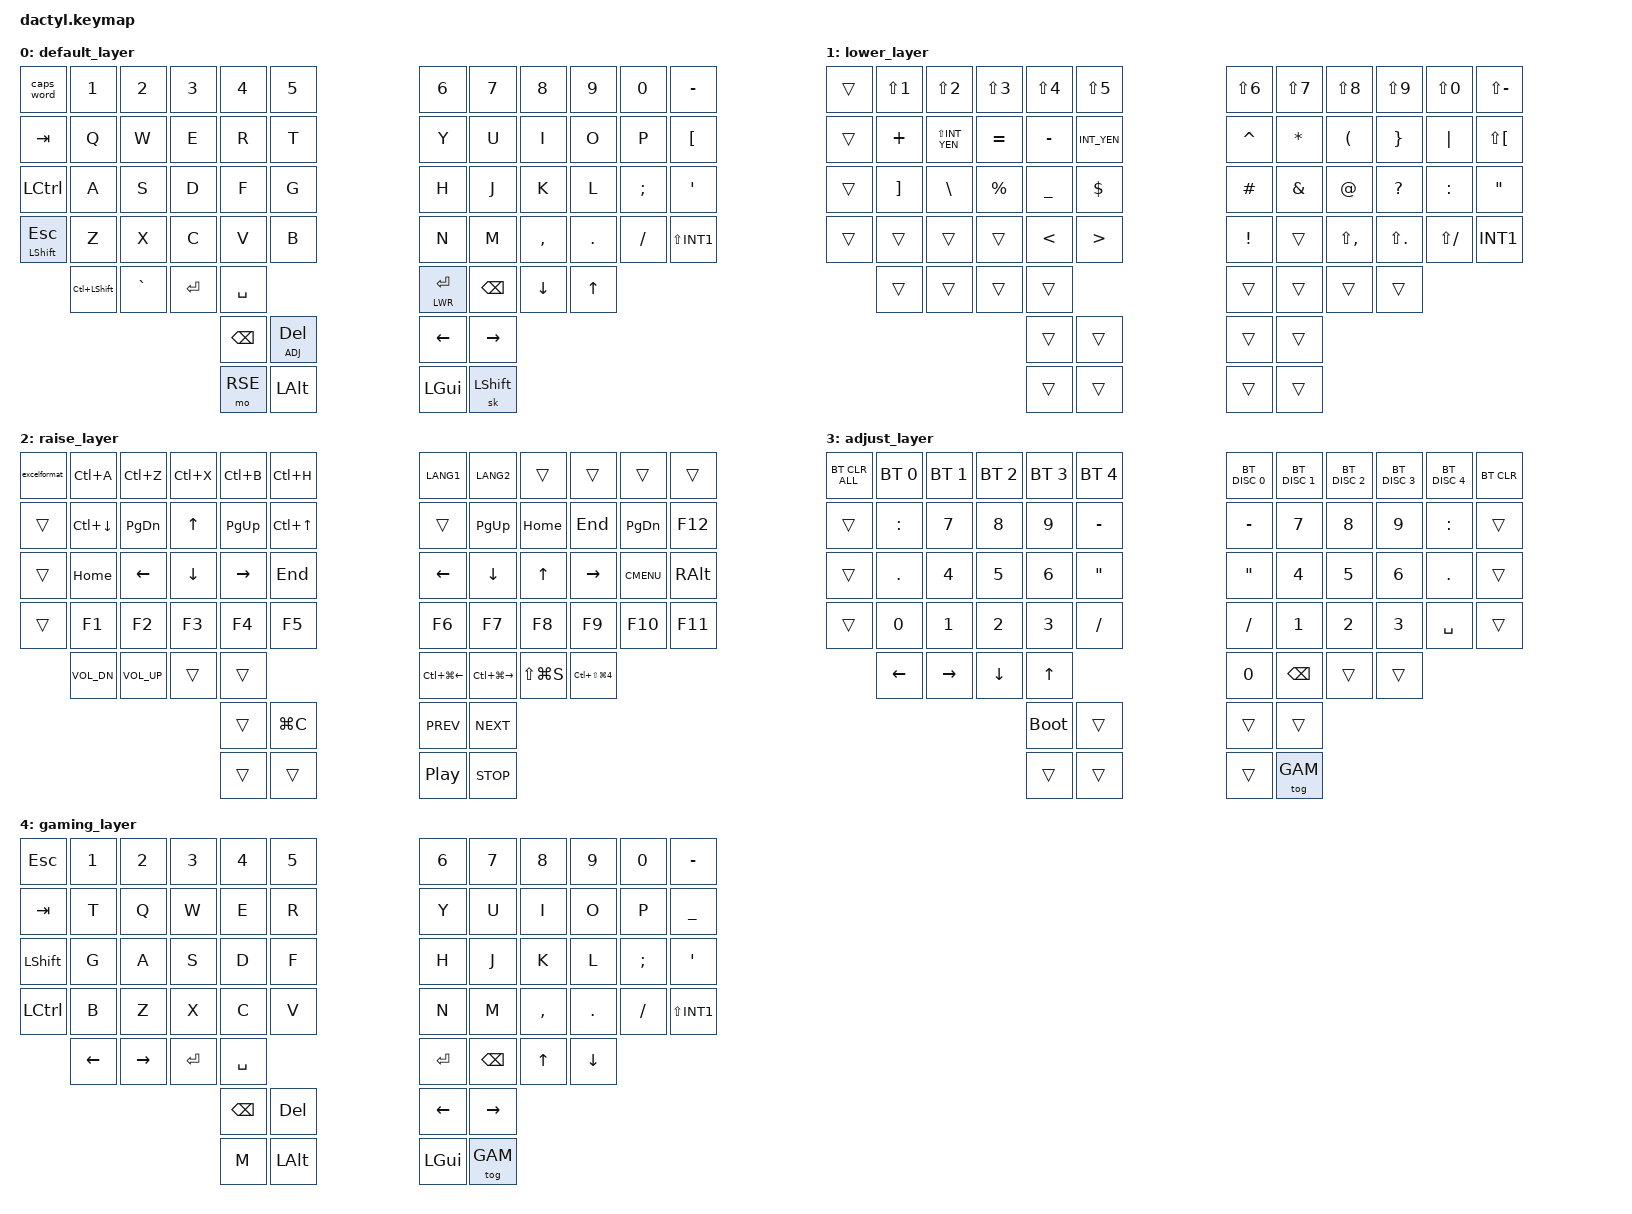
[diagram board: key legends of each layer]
#include <behaviors.dtsi>
#include <dt-bindings/zmk/keys.h>
#include <dt-bindings/zmk/bt.h>
#include <dt-bindings/zmk/outputs.h>

#define  QW 0
#define LWR 1
#define RSE 2
#define ADJ 3
#define GAM 4


&lt {
    tapping-term-ms = <100>;
};
&sk {
    release-after-ms = <5000>;
};
/ {
     macros {
        lshiftAlt: lshiftAlt {
            compatible = "zmk,behavior-macro-one-param";
            #binding-cells = <1>;
            bindings
                = <&macro_press &kp LSHFT &kp LALT>
                , <&macro_pause_for_release>
                , <&macro_release &kp LSHFT &kp LALT>
                ;
        };

        ctrlShiftAltWin: ctrlShiftAltWin {
            compatible = "zmk,behavior-macro-one-param";
            #binding-cells = <1>;
            bindings
                = <&macro_press &kp LCTRL &kp LSHFT &kp LALT &kp LGUI>
                , <&macro_pause_for_release>
                , <&macro_release &kp LCTRL &kp LSHFT &kp LALT &kp LGUI>
                ;
        };

        excelformat: excelformat {
            compatible = "zmk,behavior-macro";
            #binding-cells = <0>;
            bindings
                = <&macro_press &kp LALT>
                , <&macro_tap &kp H>
                , <&macro_release &kp LALT>
                , <&macro_tap &kp F &kp P>
                ;
        };
    };

    behaviors {
        lshiftAltHoldTap: lshiftAltHoldTap {
            compatible = "zmk,behavior-hold-tap";
            #binding-cells = <2>;
            flavor = "balanced";
            tapping-term-ms = <400>;
            quick-tap-ms = <200>;
            bindings = <&lshiftAlt>, <&kp>;
        };

        ctrlShiftAltWinHoldTap: ctrlShiftAltWinHoldTap {
            compatible = "zmk,behavior-hold-tap";
            #binding-cells = <2>;
            flavor = "balanced";
            tapping-term-ms = <400>;
            quick-tap-ms = <200>;
            bindings = <&ctrlShiftAltWin>, <&kp>;
        };

        HTap: HTap {
            compatible = "zmk,behavior-hold-tap";
            #binding-cells = <2>;
            flavor = "hold-preferred";
            tapping-term-ms = <300>;
            quick-tap-ms = <200>;
            bindings = <&kp>, <&kp>;
        };

        skq: sticky_key_quick_release {
          compatible = "zmk,behavior-sticky-key";
          #binding-cells = <1>;
          bindings = <&kp>;
          release-after-ms = <3000>;
          quick-release;
        };
    };

    keymap {
        compatible = "zmk,keymap";

        default_layer {
            bindings = <
                &caps_word     &kp N1        &kp N2     &kp N3         &kp N4     &kp N5                                        &kp N6        &kp N7      &kp N8            &kp N9     &kp N0         &kp MINUS
                &kp TAB        &kp Q         &kp W      &kp E          &kp R      &kp T                                         &kp Y         &kp U       &kp I             &kp O      &kp P          &kp LBKT
                &kp LCTRL      &kp A         &kp S      &kp D          &kp F      &kp G                                         &kp H         &kp J       &kp K             &kp L      &kp SEMI       &kp SQT
                &mt LSHIFT ESC &kp Z         &kp X      &kp C          &kp V      &kp B                                         &kp N         &kp M       &kp COMMA         &kp DOT    &kp FSLH       &kp LS(INT1)
                               &kp LC(LSHIFT)       &kp GRAVE          &kp RET    &kp SPACE                                     &lt LWR RET   &kp BSPC    &kp DOWN          &kp UP
                                                                       &kp BSPC   &lt ADJ DEL                                   &kp LEFT      &kp RIGHT
                                                                       &mo RSE    &kp LALT                                      &kp LGUI      &sk LSHIFT
            >;
        };

        lower_layer {
            bindings = < 
                &trans         &kp LS(N1)    &kp LS(N2)        &kp LS(N3)     &kp LS(N4)       &kp LS(N5)                                      &kp LS(N6)    &kp LS(N7)  &kp LS(N8)       &kp LS(N9)     &kp LS(N0)     &kp LS(MINUS)
                &trans         &kp PLUS      &kp LS(INT_YEN)   &kp EQUAL      &kp MINUS        &kp INT_YEN                                     &kp CARET     &kp STAR    &kp LPAR         &kp RBRC       &kp PIPE       &kp LS(LBKT)
                &trans         &kp RBKT      &kp BSLH          &kp PRCNT      &kp UNDERSCORE   &kp DLLR                                        &kp HASH      &kp AMPS    &kp AT           &kp QMARK      &kp COLON      &kp DQT
                &trans         &trans        &trans            &trans         &kp LT           &kp GT                                          &kp EXCL      &trans      &kp LS(COMMA)    &kp LS(DOT)    &kp LS(FSLH)   &kp INT1
                               &trans        &trans                           &trans           &trans                                          &trans        &trans      &trans           &trans
                                                                              &trans           &trans                                          &trans        &trans
                                                                              &trans           &trans                                          &trans        &trans 
            >;
        };

        raise_layer {
            bindings = < 
                &excelformat   &kp LC(A)         &kp LC(Z)        &kp LC(X)      &kp LC(B)         &kp LC(H)                                   &kp LANG1    &kp LANG2     &trans      &trans        &trans         &trans
                &trans         &kp LC(DOWN)      &kp PG_DN        &kp UP         &kp PG_UP         &kp LC(UP)                                  &trans       &kp PG_UP     &kp HOME    &kp END       &kp PG_DN      &kp F12
                &trans         &kp HOME          &kp LEFT         &kp DOWN       &kp RIGHT         &kp END                                     &kp LEFT     &kp DOWN      &kp UP      &kp RIGHT     &kp K_CMENU    &kp RALT
                &trans         &kp F1            &kp F2           &kp F3         &kp F4            &kp F5                                      &kp F6       &kp F7        &kp F8      &kp F9        &kp F10        &kp F11
                               &kp C_VOL_DN      &kp C_VOL_UP                    &trans        &trans                                          &kp LC(LG(LEFT))       &kp LC(LG(RIGHT))     &kp LS(LG(S))      &kp LC(LS(LG(4)))
                                                                                 &trans        &kp LG(C)                                       &kp C_PREV             &kp C_NEXT
                                                                                 &trans        &trans                                          &kp C_PLAY_PAUSE       &kp C_STOP
            >;
        };

        adjust_layer {
            bindings = <
                &bt BT_CLR_ALL &bt BT_SEL 0      &bt BT_SEL 1     &bt BT_SEL 2   &bt BT_SEL 3      &bt BT_SEL 4                                &bt BT_DISC 0  &bt BT_DISC 1  &bt BT_DISC 2  &bt BT_DISC 3 &bt BT_DISC 4  &bt BT_CLR
                &trans         &kp COLON         &kp N7           &kp N8         &kp N9            &kp MINUS                                   &kp MINUS    &kp N7      &kp N8     &kp N9     &kp COLON     &trans
                &trans         &kp DOT           &kp N4           &kp N5         &kp N6            &kp DQT                                     &kp DQT      &kp N4      &kp N5     &kp N6     &kp DOT       &trans
                &trans         &kp N0            &kp N1           &kp N2         &kp N3            &kp FSLH                                    &kp FSLH     &kp N1      &kp N2     &kp N3     &kp SPACE     &trans
                                                 &kp LEFT         &kp RIGHT      &kp DOWN          &kp UP                                      &kp N0       &kp BSPC    &trans     &trans
                                                                                 &bootloader       &trans                                      &trans       &trans
                                                                                 &trans            &trans                                      &trans       &tog GAM
            >;
        };

        gaming_layer {
            bindings = <
                &kp ESC        &kp N1            &kp N2           &kp N3         &kp N4            &kp N5                         &kp N6        &kp N7      &kp N8            &kp N9     &kp N0         &kp MINUS
                &kp TAB        &kp T             &kp Q            &kp W          &kp E             &kp R                          &kp Y         &kp U       &kp I             &kp O      &kp P          &kp UNDERSCORE
                &kp LSHIFT     &kp G             &kp A            &kp S          &kp D             &kp F                          &kp H         &kp J       &kp K             &kp L      &kp SEMI       &kp SQT
                &kp LCTRL      &kp B             &kp Z            &kp X          &kp C             &kp V                          &kp N         &kp M       &kp COMMA         &kp DOT    &kp FSLH       &kp LS(INT1)
                                                 &kp LEFT         &kp RIGHT      &kp RET           &kp SPACE                      &kp RET       &kp BSPC    &kp UP            &kp DOWN
                                                                                 &kp BSPC          &kp DEL                        &kp LEFT      &kp RIGHT
                                                                                 &kp M             &kp LALT                       &kp LGUI      &tog GAM
            >;
        };
    };
};
